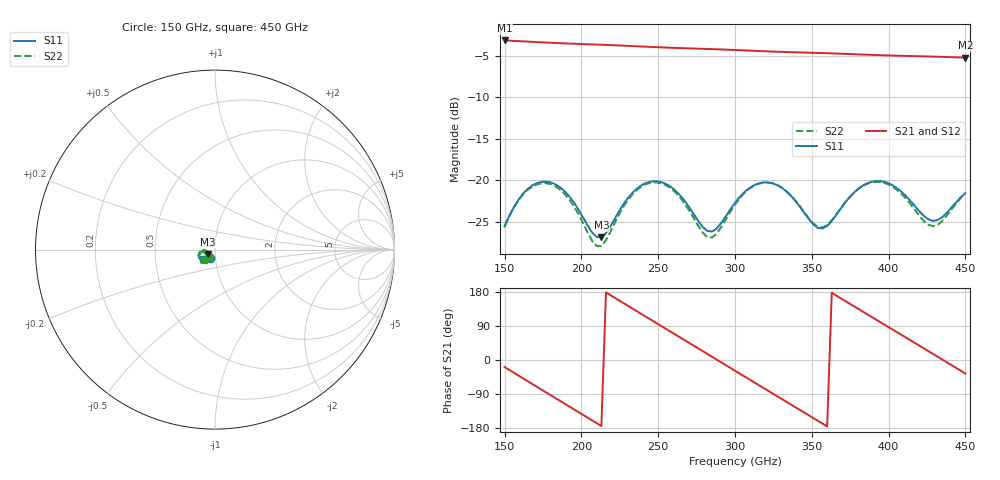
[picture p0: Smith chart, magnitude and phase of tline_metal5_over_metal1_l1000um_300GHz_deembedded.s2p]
! Created with skrf 2.2.0 (http://scikit-rf.org).
# GHz S DB R 50.0
! Port[1] = P1
! Port[2] = P2
!freq dBS11 angS11 dBS21 angS21 dBS12 angS12 dBS22 angS22
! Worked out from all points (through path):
!   101 points, 150 GHz to 450 GHz, reference 50 ohm
!   highest |S21| = -3.12 dB at 150 GHz (marker M1); lowest = -5.2 dB at 450 GHz (marker M2)
!   group delay of S21, straight-line fit = 6.82 ps
!   lowest |S11| = -26.9 dB at 213 GHz (marker M3), VSWR 1.10, Z = 46.2 - j2.21 ohm
!   |S11| at or under -10 dB: start of sweep to end of sweep
!   |S22| runs from -27.9 to -20.2 dB; largest |S21 - S12| = 5.1e-16
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150  -25.56 -122.5  -3.12 -18.6  -3.12 -18.6  -25.51 -125.9
165  -21.04 -133.1  -3.26 -55.9  -3.26 -55.9  -21.15 -136.0
177  -20.16 -151.0  -3.37 -85.5  -3.37 -85.5  -20.34 -154.0
189  -21.29 -167.3  -3.47 -115.0  -3.47 -115.0  -21.61 -170.7
201  -24.45 -172.8  -3.56 -144.6  -3.56 -144.6  -25.13 -176.5
213  -26.86 -148.4  -3.64 -174.2  -3.64 -174.2  -27.90 -146.9
234  -21.35 -136.0  -3.81 133.9  -3.81 133.9  -21.52 -134.3
252  -20.21 -158.5  -3.96 89.7  -3.96 89.7  -20.36 -158.3
264  -21.75 -171.3  -4.04 60.2  -4.04 60.2  -22.00 -172.0
279  -25.63 -165.7  -4.13 23.4  -4.13 23.4  -26.30 -165.7
288  -25.82 -144.8  -4.19 1.2  -4.19 1.2  -26.45 -141.8
300  -22.71 -135.1  -4.27 -28.3  -4.27 -28.3  -22.91 -131.7
312  -20.63 -144.4  -4.37 -57.8  -4.37 -57.8  -20.68 -141.8
324  -20.33 -158.5  -4.46 -87.2  -4.46 -87.2  -20.34 -156.4
336  -21.78 -170.0  -4.53 -116.5  -4.53 -116.5  -21.75 -168.2
351  -25.32 -164.0  -4.61 -153.2  -4.61 -153.2  -25.20 -162.8
372  -22.61 -134.9  -4.74 155.2  -4.74 155.2  -22.60 -135.0
387  -20.29 -146.2  -4.85 118.4  -4.85 118.4  -20.35 -146.4
402  -20.53 -162.3  -4.94 81.8  -4.94 81.8  -20.70 -162.8
414  -22.43 -169.3  -5.00 52.5  -5.00 52.5  -22.81 -169.8
429  -24.89 -154.8  -5.07 15.8  -5.07 15.8  -25.54 -152.0
450  -21.53 -140.8  -5.20 -35.7  -5.20 -35.7  -21.53 -136.3
